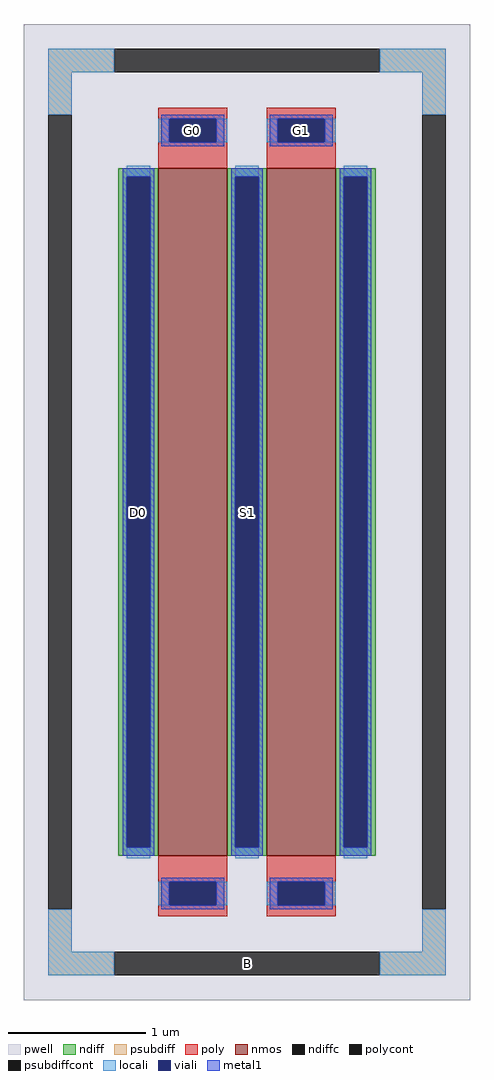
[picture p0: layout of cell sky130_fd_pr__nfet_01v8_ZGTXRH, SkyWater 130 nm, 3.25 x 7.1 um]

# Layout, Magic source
magic
tech sky130A
magscale 1 2
<< pwell >>
rect -325 -710 325 710
<< nmos >>
rect -129 -500 -29 500
rect 29 -500 129 500
<< ndiff >>
rect -187 488 -129 500
rect -187 -488 -175 488
rect -141 -488 -129 488
rect -187 -500 -129 -488
rect -29 488 29 500
rect -29 -488 -17 488
rect 17 -488 29 488
rect -29 -500 29 -488
rect 129 488 187 500
rect 129 -488 141 488
rect 175 -488 187 488
rect 129 -500 187 -488
<< ndiffc >>
rect -175 -488 -141 488
rect -17 -488 17 488
rect 141 -488 175 488
<< psubdiff >>
rect -289 640 -193 674
rect 193 640 289 674
rect -289 578 -255 640
rect 255 578 289 640
rect -289 -640 -255 -578
rect 255 -640 289 -578
rect -289 -674 -193 -640
rect 193 -674 289 -640
<< psubdiffcont >>
rect -193 640 193 674
rect -289 -578 -255 578
rect 255 -578 289 578
rect -193 -674 193 -640
<< poly >>
rect -129 572 -29 588
rect -129 538 -113 572
rect -45 538 -29 572
rect -129 500 -29 538
rect 29 572 129 588
rect 29 538 45 572
rect 113 538 129 572
rect 29 500 129 538
rect -129 -538 -29 -500
rect -129 -572 -113 -538
rect -45 -572 -29 -538
rect -129 -588 -29 -572
rect 29 -538 129 -500
rect 29 -572 45 -538
rect 113 -572 129 -538
rect 29 -588 129 -572
<< polycont >>
rect -113 538 -45 572
rect 45 538 113 572
rect -113 -572 -45 -538
rect 45 -572 113 -538
<< locali >>
rect -289 640 -193 674
rect 193 640 289 674
rect -289 578 -255 640
rect 255 578 289 640
rect -129 538 -113 572
rect -45 538 -29 572
rect 29 538 45 572
rect 113 538 129 572
rect -175 488 -141 504
rect -175 -504 -141 -488
rect -17 488 17 504
rect -17 -504 17 -488
rect 141 488 175 504
rect 141 -504 175 -488
rect -129 -572 -113 -538
rect -45 -572 -29 -538
rect 29 -572 45 -538
rect 113 -572 129 -538
rect -289 -640 -255 -578
rect 255 -640 289 -578
rect -289 -674 -193 -640
rect 193 -674 289 -640
<< viali >>
rect -113 538 -45 572
rect 45 538 113 572
rect -175 -488 -141 488
rect -17 -488 17 488
rect 141 -488 175 488
rect -113 -572 -45 -538
rect 45 -572 113 -538
<< metal1 >>
rect -125 572 -33 578
rect -125 538 -113 572
rect -45 538 -33 572
rect -125 532 -33 538
rect 33 572 125 578
rect 33 538 45 572
rect 113 538 125 572
rect 33 532 125 538
rect -181 488 -135 500
rect -181 -488 -175 488
rect -141 -488 -135 488
rect -181 -500 -135 -488
rect -23 488 23 500
rect -23 -488 -17 488
rect 17 -488 23 488
rect -23 -500 23 -488
rect 135 488 181 500
rect 135 -488 141 488
rect 175 -488 181 488
rect 135 -500 181 -488
rect -125 -538 -33 -532
rect -125 -572 -113 -538
rect -45 -572 -33 -538
rect -125 -578 -33 -572
rect 33 -538 125 -532
rect 33 -572 45 -538
rect 113 -572 125 -538
rect 33 -578 125 -572
<< labels >>
rlabel psubdiffcont 0 -657 0 -657 0 B
port 6 nsew
rlabel ndiffc -158 0 -158 0 0 D0
port 7 nsew
rlabel polycont -79 555 -79 555 0 G0
port 8 nsew
rlabel ndiffc 0 0 0 0 0 S1
port 9 nsew
rlabel polycont 79 555 79 555 0 G1
port 10 nsew
<< properties >>
string FIXED_BBOX -272 -657 272 657
string gencell sky130_fd_pr__nfet_01v8
string library sky130
string parameters w 5 l 0.5 m 1 nf 2 diffcov 100 polycov 100 guard 1 glc 1 grc 1 gtc 1 gbc 1 tbcov 100 rlcov 100 topc 1 botc 1 poverlap 0 doverlap 1 lmin 0.15 wmin 0.42 class mosfet compatible {sky130_fd_pr__nfet_01v8 sky130_fd_pr__nfet_01v8_lvt  sky130_fd_bs_flash__special_sonosfet_star  sky130_fd_pr__nfet_g5v0d10v5 sky130_fd_pr__nfet_05v0_nvt  sky130_fd_pr__nfet_03v3_nvt} full_metal 1 conn_gates 0 viasrc 100 viadrn 100 viagate 100 viagb 0 viagr 0 viagl 0 viagt 0 doports 1
<< end >>
